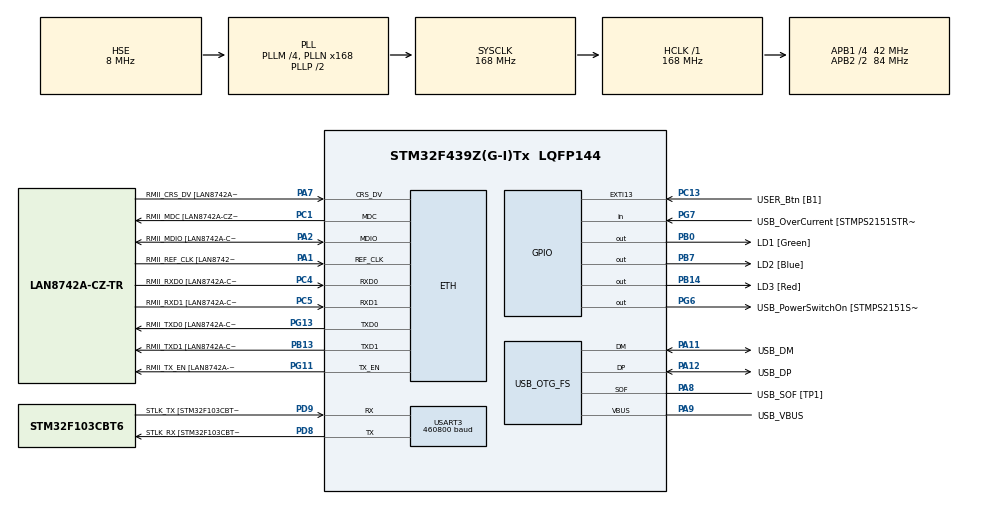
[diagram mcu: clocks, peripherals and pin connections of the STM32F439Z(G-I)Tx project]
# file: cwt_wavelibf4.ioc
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Dma.Request0=USART3_RX
Dma.USART3_RX.0.Direction=DMA_PERIPH_TO_MEMORY
Dma.USART3_RX.0.FIFOMode=DMA_FIFOMODE_DISABLE
Dma.USART3_RX.0.Instance=DMA1_Stream1
Dma.USART3_RX.0.MemDataAlignment=DMA_MDATAALIGN_BYTE
Dma.USART3_RX.0.MemInc=DMA_MINC_ENABLE
Dma.USART3_RX.0.Mode=DMA_NORMAL
Dma.USART3_RX.0.PeriphDataAlignment=DMA_PDATAALIGN_BYTE
Dma.USART3_RX.0.PeriphInc=DMA_PINC_DISABLE
Dma.USART3_RX.0.Priority=DMA_PRIORITY_HIGH
ETH.MediaInterface=HAL_ETH_RMII_MODE
ETH.PHY_Name=LAN8742A_PHY_ADDRESS
ETH.PHY_Value=0
ETH.PhyAddress=0
Mcu.Family=STM32F4
Mcu.Name=STM32F439Z(G-I)Tx
Mcu.Package=LQFP144
NVIC.DMA1_Stream1_IRQn=true\:0\:0\:false\:false\:true\:false\:true\:true
NVIC.PriorityGroup=NVIC_PRIORITYGROUP_4
NVIC.USART3_IRQn=true\:0\:0\:false\:false\:true\:true\:true\:true
PA0/WKUP.Mode=SYS_WakeUp0
PA0/WKUP.Signal=SYS_WKUP
PA1.GPIO_Label=RMII_REF_CLK [LAN8742A-CZ-TR_REFCLK0]
PA1.Mode=RMII
PA1.Signal=ETH_REF_CLK
PA10.GPIO_Label=USB_ID
PA10.Signal=USB_OTG_FS_ID
PA11.GPIO_Label=USB_DM
PA11.Mode=Device_Only
PA11.Signal=USB_OTG_FS_DM
PA12.GPIO_Label=USB_DP
PA12.Mode=Device_Only
PA12.Signal=USB_OTG_FS_DP
PA13.GPIO_Label=TMS
PA13.Mode=Serial_Wire
PA13.Signal=SYS_JTMS-SWDIO
PA14.GPIO_Label=TCK
PA14.Mode=Serial_Wire
PA14.Signal=SYS_JTCK-SWCLK
PA2.GPIO_Label=RMII_MDIO [LAN8742A-CZ-TR_MDIO]
PA2.Mode=RMII
PA2.Signal=ETH_MDIO
PA7.GPIO_Label=RMII_CRS_DV [LAN8742A-CZ-TR_CRS_DV]
PA7.Mode=RMII
PA7.Signal=ETH_CRS_DV
PA8.GPIO_Label=USB_SOF [TP1]
PA8.Mode=Activate_SOF_FS
PA8.Signal=USB_OTG_FS_SOF
PA9.GPIO_Label=USB_VBUS
PA9.Mode=Activate_VBUS
PA9.Signal=USB_OTG_FS_VBUS
PB0.GPIO_Label=LD1 [Green]
PB0.Signal=GPIO_Output
PB13.GPIO_Label=RMII_TXD1 [LAN8742A-CZ-TR_TXD1]
PB13.Mode=RMII
PB13.Signal=ETH_TXD1
PB14.GPIO_Label=LD3 [Red]
PB14.Signal=GPIO_Output
PB7.GPIO_Label=LD2 [Blue]
PB7.Signal=GPIO_Output
PC1.GPIO_Label=RMII_MDC [LAN8742A-CZ-TR_MDC]
PC1.Mode=RMII
PC1.Signal=ETH_MDC
PC13.GPIO_Label=USER_Btn [B1]
PC13.Signal=GPXTI13
PC14/OSC32_IN.Mode=LSE-External-Oscillator
PC14/OSC32_IN.Signal=RCC_OSC32_IN
PC15/OSC32_OUT.Mode=LSE-External-Oscillator
PC15/OSC32_OUT.Signal=RCC_OSC32_OUT
PC4.GPIO_Label=RMII_RXD0 [LAN8742A-CZ-TR_RXD0]
PC4.Mode=RMII
PC4.Signal=ETH_RXD0
PC5.GPIO_Label=RMII_RXD1 [LAN8742A-CZ-TR_RXD1]
PC5.Mode=RMII
PC5.Signal=ETH_RXD1
PD8.GPIO_Label=STLK_RX [STM32F103CBT6_PA3]
PD8.Mode=Asynchronous
PD8.Signal=USART3_TX
PD9.GPIO_Label=STLK_TX [STM32F103CBT6_PA2]
PD9.Mode=Asynchronous
PD9.Signal=USART3_RX
PG11.GPIO_Label=RMII_TX_EN [LAN8742A-CZ-TR_TXEN]
PG11.Mode=RMII
PG11.Signal=ETH_TX_EN
PG13.GPIO_Label=RMII_TXD0 [LAN8742A-CZ-TR_TXD0]
PG13.Mode=RMII
PG13.Signal=ETH_TXD0
PG6.GPIO_Label=USB_PowerSwitchOn [STMPS2151STR_EN]
PG6.Signal=GPIO_Output
PG7.GPIO_Label=USB_OverCurrent [STMPS2151STR_FAULT]
PG7.Signal=GPIO_Input
PH0/OSC_IN.GPIO_Label=MCO [STM32F103CBT6_PA8]
PH0/OSC_IN.Mode=HSE-External-Clock-Source
PH0/OSC_IN.Signal=RCC_OSC_IN
PH1/OSC_OUT.Mode=HSE-External-Clock-Source
PH1/OSC_OUT.Signal=RCC_OSC_OUT
ProjectManager.HeapSize=0x200
ProjectManager.StackSize=0x400
ProjectManager.TargetToolchain=STM32CubeIDE
RCC.48MHZClocksFreq_Value=48000000
RCC.AHBFreq_Value=168000000
RCC.APB1CLKDivider=RCC_HCLK_DIV4
RCC.APB1Freq_Value=42000000
RCC.APB1TimFreq_Value=84000000
RCC.APB2CLKDivider=RCC_HCLK_DIV2
RCC.APB2Freq_Value=84000000
RCC.APB2TimCLKDivider=2
RCC.APB2TimFreq_Value=168000000
RCC.CortexFreq_Value=168000000
RCC.HCLKFreq_Value=168000000
RCC.HSE_VALUE=8000000
RCC.HSI_VALUE=16000000
RCC.PLLM=4
RCC.PLLMUL=RCC_PLL_MUL9
RCC.PLLN=168
RCC.PLLQ=7
RCC.PRESCALERUSB=RCC_USBCLKSOURCE_PLL_DIV1_5
RCC.SYSCLKFreq_VALUE=168000000
RCC.SYSCLKSource=RCC_SYSCLKSOURCE_PLLCLK
RCC.SYSCLKSourceVirtual=RCC_SYSCLKSOURCE_PLLCLK
RCC.USBFreq_Value=48000000
RCC.VCOOutputFreq_Value=336000000
USART3.BaudRate=460800
USART3.VirtualMode=VM_ASYNC
USB_OTG_FS.VirtualMode=Device_Only
board=NUCLEO-F439ZI

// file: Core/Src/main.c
/* USER CODE BEGIN Header */
/**
  ******************************************************************************
  * @file           : main.c
  * @brief          : Main program body
  ******************************************************************************
  * @attention
  *
  * Copyright (c) 2026 STMicroelectronics.
  * All rights reserved.
  *
  * This software is licensed under terms that can be found in the LICENSE file
  * in the root directory of this software component.
  * If no LICENSE file comes with this software, it is provided AS-IS.
  *
  ******************************************************************************
  */
/* USER CODE END Header */
#include "main.h"
#include "string.h"

/* USER CODE BEGIN Includes */
#include <string.h>
#include <stdbool.h>
#include <math.h>
#include "cwt.h"
/* USER CODE END Includes */

/* USER CODE BEGIN PD */
#define FS_HZ               16000
#define N_SAMPLES           512  // Tamaño total de la ventana CWT
#define NEW_SAMPLES         256   // Tamaño del bloque nuevo a recibir
#define J_TOT               18
#define DT                  (1.0f / (float)FS_HZ)

#define UART_DMA_RX_BYTES   (NEW_SAMPLES * 2)
/* USER CODE END PD */

ETH_TxPacketConfig TxConfig;
ETH_DMADescTypeDef  DMARxDscrTab[ETH_RX_DESC_CNT]; /* Ethernet Rx DMA Descriptors */
ETH_DMADescTypeDef  DMATxDscrTab[ETH_TX_DESC_CNT]; /* Ethernet Tx DMA Descriptors */

ETH_HandleTypeDef heth;

UART_HandleTypeDef huart3;
DMA_HandleTypeDef hdma_usart3_rx;

PCD_HandleTypeDef hpcd_USB_OTG_FS;

/* USER CODE BEGIN PV */
static int16_t pcm16_rx[NEW_SAMPLES];    // Buffer para los datos nuevos
static int16_t pcm_window[N_SAMPLES];    // Buffer deslizante con la ventana completa
static volatile bool frameReady = false;

static float yInput[N_SAMPLES];
static float cwtWave[2 * N_SAMPLES * J_TOT]; // 128 KB
static float cwtScale[J_TOT];
static float cwtPeriod[J_TOT];
static float cwtCoi[N_SAMPLES];
static float scaleMag[J_TOT][N_SAMPLES];     // 64 KB

/* USER CODE END PV */

void SystemClock_Config(void);
static void MX_GPIO_Init(void);
static void MX_DMA_Init(void);
static void MX_ETH_Init(void);
static void MX_USART3_UART_Init(void);
static void MX_USB_OTG_FS_PCD_Init(void);
/* USER CODE BEGIN PFP */
void AudioDSP_Init(void);
void AudioDSP_Task(void);
static void StartUartDmaReception(void);
static void ProcessCWT_F32(void);
static void SendScaleMatrix(void);
static void InitScales(void);
/* USER CODE END PFP */

int main(void)
{

  /* MCU Configuration--------------------------------------------------------*/

  /* Reset of all peripherals, Initializes the Flash interface and the Systick. */
  HAL_Init();

  /* Configure the system clock */
  SystemClock_Config();

  /* Initialize all configured peripherals */
  MX_GPIO_Init();
  MX_DMA_Init();
  MX_ETH_Init();
  MX_USART3_UART_Init();
  MX_USB_OTG_FS_PCD_Init();
  /* USER CODE BEGIN 2 */
  AudioDSP_Init();
  /* USER CODE END 2 */

  /* Infinite loop */
  while (1)
  {

    /* USER CODE BEGIN 3 */
	  AudioDSP_Task();
  }
  /* USER CODE END 3 */
}

void SystemClock_Config(void)
{
  RCC_OscInitTypeDef RCC_OscInitStruct = {0};
  RCC_ClkInitTypeDef RCC_ClkInitStruct = {0};

  /** Configure the main internal regulator output voltage
  */
  __HAL_RCC_PWR_CLK_ENABLE();
  __HAL_PWR_VOLTAGESCALING_CONFIG(PWR_REGULATOR_VOLTAGE_SCALE1);

  /** Initializes the RCC Oscillators according to the specified parameters
  * in the RCC_OscInitTypeDef structure.
  */
  RCC_OscInitStruct.OscillatorType = RCC_OSCILLATORTYPE_HSE;
  RCC_OscInitStruct.HSEState = RCC_HSE_BYPASS;
  RCC_OscInitStruct.PLL.PLLState = RCC_PLL_ON;
  RCC_OscInitStruct.PLL.PLLSource = RCC_PLLSOURCE_HSE;
  RCC_OscInitStruct.PLL.PLLM = 4;
  RCC_OscInitStruct.PLL.PLLN = 168;
  RCC_OscInitStruct.PLL.PLLP = RCC_PLLP_DIV2;
  RCC_OscInitStruct.PLL.PLLQ = 7;
  if (HAL_RCC_OscConfig(&RCC_OscInitStruct) != HAL_OK)
  {
    Error_Handler();
  }

  /** Initializes the CPU, AHB and APB buses clocks
  */
  RCC_ClkInitStruct.ClockType = RCC_CLOCKTYPE_HCLK|RCC_CLOCKTYPE_SYSCLK
                              |RCC_CLOCKTYPE_PCLK1|RCC_CLOCKTYPE_PCLK2;
  RCC_ClkInitStruct.SYSCLKSource = RCC_SYSCLKSOURCE_PLLCLK;
  RCC_ClkInitStruct.AHBCLKDivider = RCC_SYSCLK_DIV1;
  RCC_ClkInitStruct.APB1CLKDivider = RCC_HCLK_DIV4;
  RCC_ClkInitStruct.APB2CLKDivider = RCC_HCLK_DIV2;

  if (HAL_RCC_ClockConfig(&RCC_ClkInitStruct, FLASH_LATENCY_5) != HAL_OK)
  {
    Error_Handler();
  }
}

static void MX_ETH_Init(void)
{

   static uint8_t MACAddr[6];

  heth.Instance = ETH;
  MACAddr[0] = 0x00;
  MACAddr[1] = 0x80;
  MACAddr[2] = 0xE1;
  MACAddr[3] = 0x00;
  MACAddr[4] = 0x00;
  MACAddr[5] = 0x00;
  heth.Init.MACAddr = &MACAddr[0];
  heth.Init.MediaInterface = HAL_ETH_RMII_MODE;
  heth.Init.TxDesc = DMATxDscrTab;
  heth.Init.RxDesc = DMARxDscrTab;
  heth.Init.RxBuffLen = 1524;

  if (HAL_ETH_Init(&heth) != HAL_OK)
  {
    Error_Handler();
  }

  memset(&TxConfig, 0 , sizeof(ETH_TxPacketConfig));
  TxConfig.Attributes = ETH_TX_PACKETS_FEATURES_CSUM | ETH_TX_PACKETS_FEATURES_CRCPAD;
  TxConfig.ChecksumCtrl = ETH_CHECKSUM_IPHDR_PAYLOAD_INSERT_PHDR_CALC;
  TxConfig.CRCPadCtrl = ETH_CRC_PAD_INSERT;

}

static void MX_USART3_UART_Init(void)
{

  huart3.Instance = USART3;
  huart3.Init.BaudRate = 460800;
  huart3.Init.WordLength = UART_WORDLENGTH_8B;
  huart3.Init.StopBits = UART_STOPBITS_1;
  huart3.Init.Parity = UART_PARITY_NONE;
  huart3.Init.Mode = UART_MODE_TX_RX;
  huart3.Init.HwFlowCtl = UART_HWCONTROL_NONE;
  huart3.Init.OverSampling = UART_OVERSAMPLING_16;
  if (HAL_UART_Init(&huart3) != HAL_OK)
  {
    Error_Handler();
  }

}

static void MX_USB_OTG_FS_PCD_Init(void)
{

  hpcd_USB_OTG_FS.Instance = USB_OTG_FS;
  hpcd_USB_OTG_FS.Init.dev_endpoints = 4;
  hpcd_USB_OTG_FS.Init.speed = PCD_SPEED_FULL;
  hpcd_USB_OTG_FS.Init.dma_enable = DISABLE;
  hpcd_USB_OTG_FS.Init.phy_itface = PCD_PHY_EMBEDDED;
  hpcd_USB_OTG_FS.Init.Sof_enable = ENABLE;
  hpcd_USB_OTG_FS.Init.low_power_enable = DISABLE;
  hpcd_USB_OTG_FS.Init.lpm_enable = DISABLE;
  hpcd_USB_OTG_FS.Init.vbus_sensing_enable = ENABLE;
  hpcd_USB_OTG_FS.Init.use_dedicated_ep1 = DISABLE;
  if (HAL_PCD_Init(&hpcd_USB_OTG_FS) != HAL_OK)
  {
    Error_Handler();
  }

}

static void MX_DMA_Init(void)
{

  /* DMA controller clock enable */
  __HAL_RCC_DMA1_CLK_ENABLE();

  /* DMA interrupt init */
  /* DMA1_Stream1_IRQn interrupt configuration */
  HAL_NVIC_SetPriority(DMA1_Stream1_IRQn, 0, 0);
  HAL_NVIC_EnableIRQ(DMA1_Stream1_IRQn);

}

static void MX_GPIO_Init(void)
{
  GPIO_InitTypeDef GPIO_InitStruct = {0};

  /* GPIO Ports Clock Enable */
  __HAL_RCC_GPIOC_CLK_ENABLE();
  __HAL_RCC_GPIOH_CLK_ENABLE();
  __HAL_RCC_GPIOA_CLK_ENABLE();
  __HAL_RCC_GPIOB_CLK_ENABLE();
  __HAL_RCC_GPIOD_CLK_ENABLE();
  __HAL_RCC_GPIOG_CLK_ENABLE();

  /*Configure GPIO pin Output Level */
  HAL_GPIO_WritePin(GPIOB, LD1_Pin|LD3_Pin|LD2_Pin, GPIO_PIN_RESET);

  /*Configure GPIO pin Output Level */
  HAL_GPIO_WritePin(USB_PowerSwitchOn_GPIO_Port, USB_PowerSwitchOn_Pin, GPIO_PIN_RESET);

  /*Configure GPIO pin : USER_Btn_Pin */
  GPIO_InitStruct.Pin = USER_Btn_Pin;
  GPIO_InitStruct.Mode = GPIO_MODE_IT_RISING;
  GPIO_InitStruct.Pull = GPIO_NOPULL;
  HAL_GPIO_Init(USER_Btn_GPIO_Port, &GPIO_InitStruct);

  /*Configure GPIO pins : LD1_Pin LD3_Pin LD2_Pin */
  GPIO_InitStruct.Pin = LD1_Pin|LD3_Pin|LD2_Pin;
  GPIO_InitStruct.Mode = GPIO_MODE_OUTPUT_PP;
  GPIO_InitStruct.Pull = GPIO_NOPULL;
  GPIO_InitStruct.Speed = GPIO_SPEED_FREQ_LOW;
  HAL_GPIO_Init(GPIOB, &GPIO_InitStruct);

  /*Configure GPIO pin : USB_PowerSwitchOn_Pin */
  GPIO_InitStruct.Pin = USB_PowerSwitchOn_Pin;
  GPIO_InitStruct.Mode = GPIO_MODE_OUTPUT_PP;
  GPIO_InitStruct.Pull = GPIO_NOPULL;
  GPIO_InitStruct.Speed = GPIO_SPEED_FREQ_LOW;
  HAL_GPIO_Init(USB_PowerSwitchOn_GPIO_Port, &GPIO_InitStruct);

  /*Configure GPIO pin : USB_OverCurrent_Pin */
  GPIO_InitStruct.Pin = USB_OverCurrent_Pin;
  GPIO_InitStruct.Mode = GPIO_MODE_INPUT;
  GPIO_InitStruct.Pull = GPIO_NOPULL;
  HAL_GPIO_Init(USB_OverCurrent_GPIO_Port, &GPIO_InitStruct);

}

/* USER CODE BEGIN 4 */
void AudioDSP_Init(void)
{
    memset((void*)pcm16_rx, 0, sizeof(pcm16_rx));
    memset((void*)pcm_window, 0, sizeof(pcm_window));
    memset((void*)scaleMag, 0, sizeof(scaleMag));

    InitScales();
    StartUartDmaReception();
}

static void InitScales(void)
{
    float s0 = 2.0f * DT; // Escala base
    float dj = 0.25f;     // Espaciado entre escalas

    for (int i = 0; i < J_TOT; ++i) {
        cwtScale[i] = s0 * powf(2.0f, (float)(i) * dj);
    }
}

static void StartUartDmaReception(void)
{
	HAL_UART_Receive_DMA(&huart3, (uint8_t*)pcm16_rx, UART_DMA_RX_BYTES);
}

void HAL_UART_RxCpltCallback(UART_HandleTypeDef *huart)
{
    if (huart->Instance == USART3)
    {
        frameReady = true;
    }
}

void AudioDSP_Task(void)
{
    if (frameReady)
    {
        frameReady = false;
        ProcessCWT_F32();
        SendScaleMatrix();

        StartUartDmaReception();
    }
}
static void ProcessCWT_F32(void)
{
    // Desplazar la mitad vieja de la ventana hacia la izquierda
    memmove(pcm_window, &pcm_window[NEW_SAMPLES], NEW_SAMPLES * sizeof(int16_t));

    //  Copiar 512 muestras nuevas a la mitad derecha
    memcpy(&pcm_window[NEW_SAMPLES], pcm16_rx, NEW_SAMPLES * sizeof(int16_t));
    //conversión a float
    for (int i = 0; i < N_SAMPLES; i++) {
        yInput[i] = (float)pcm_window[i];
    }

    float s0 = 2.0f * DT;

    cwavelet(yInput, N_SAMPLES, DT, 0, 6.0f, s0, 0.25f, J_TOT, N_SAMPLES, //transformada
             cwtWave, cwtScale, cwtPeriod, cwtCoi);

    for (int j = 0; j < J_TOT; j++) {
        int iter = 2 * j * N_SAMPLES;
        for (int i = 0; i < N_SAMPLES; i++) {
            float re = cwtWave[iter + 2 * i];
            float im = cwtWave[iter + 2 * i + 1];
            scaleMag[j][i] = sqrtf(re * re + im * im);
        }
    }
}
static void SendScaleMatrix(void)
{
    const uint8_t syncHeader[4] = {255, 170, 255, 170}; // Header de sincronizacion

    HAL_UART_Transmit(&huart3, (uint8_t*)syncHeader, sizeof(syncHeader), HAL_MAX_DELAY);
    for (int j = 0; j < J_TOT; j++) {
        HAL_UART_Transmit(&huart3, (uint8_t*)scaleMag[j],
                          N_SAMPLES * sizeof(float), HAL_MAX_DELAY);
    }
}

void HAL_UART_ErrorCallback(UART_HandleTypeDef *huart)
{
    if (huart->Instance == USART3)
    {
        __HAL_UART_CLEAR_OREFLAG(huart);
        StartUartDmaReception();
    }
}
/* USER CODE END 4 */

void Error_Handler(void)
{
  __disable_irq();
  while (1)
  {
  }
}
